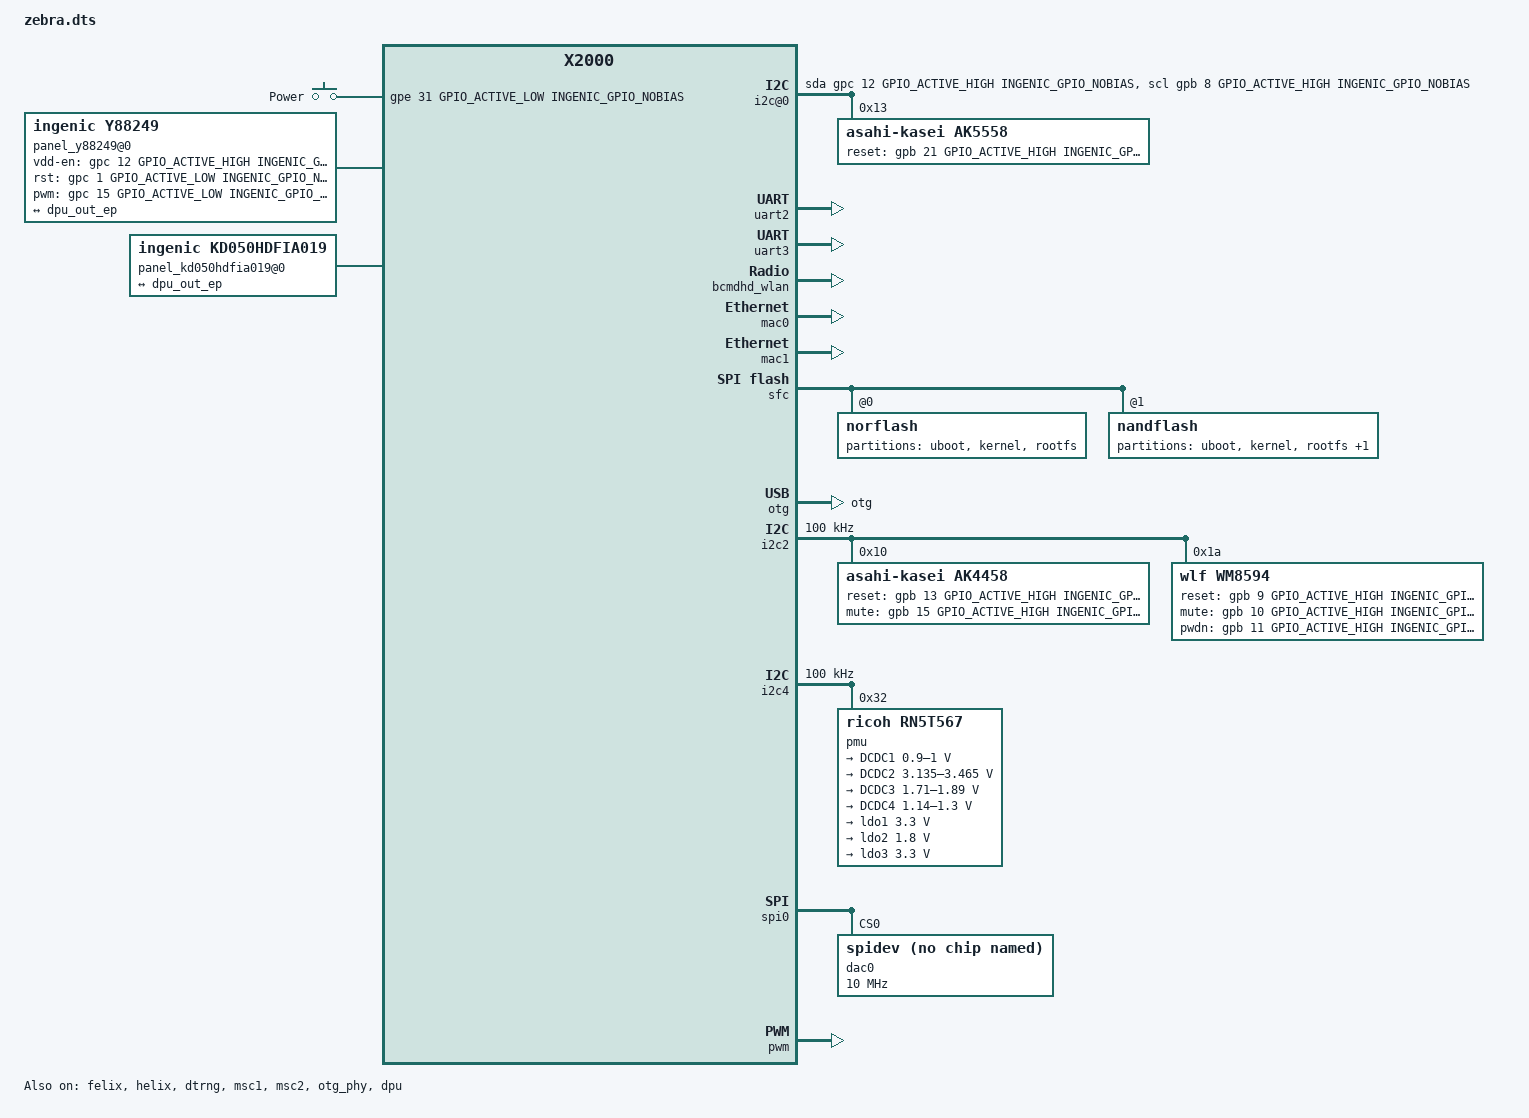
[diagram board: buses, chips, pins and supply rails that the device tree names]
/dts-v1/;

#include <dt-bindings/input/input.h>
#include "x2000-v12.dtsi"
#include <dt-bindings/interrupt-controller/irq.h>

/ {
	compatible = "ingenic,zebra", "ingenic,x2000";
};

&uart0 {
	status = "disable";
	pinctrl-names = "default";
	pinctrl-0 = <&uart0_pd>;
};

&uart2 {
	status = "okay";
	pinctrl-names = "default";
	pinctrl-0 = <&uart2_pd>;
};

&uart3 {
	status = "okay";
	pinctrl-names = "default";
	pinctrl-0 = <&uart3_pd>;
};

&pinctrl {
	ingenic,gpa_voltage = <GPIO_VOLTAGE_1V8>;
};

&cpufreq {
	 status = "okay";
	 cpu-core-supply = <&DCDC1>;
	 operating-points = <
		/*KHZ uV */
		1200000	900000
		750000	900000
		600000	900000
		500000	900000
		400000	900000
		375000	900000
		300000	900000
		200000	900000
		100000	900000
		80000	900000
		75000	900000
			>;
};

&felix {
	status = "okay";
};

&helix {
	status = "okay";
};

&pdma {
	status = "okay";
};

&dtrng {
	status = "okay";
};

&msc0 {
	status = "disable";
	pinctrl-names ="default";
	pinctrl-0 = <&msc0_8bit>;
	/*mmc-hs200-1_8v;*/
	cap-mmc-highspeed;
	non-removable;
	max-frequency = <50000000>;
	bus-width = <4>;
	non-removable;
	voltage-ranges = <1800 3300>;

	/* special property */
	ingenic,wp-gpios = <0>;
	ingneic,cd-gpios = <0>;
	ingenic,rst-gpios = <0>;
};

&msc1 {
	status = "okay";
	pinctrl-names ="default","enable", "disable";
	pinctrl-0 = <&msc1_4bit>;
	pinctrl-1 = <&rtc32k_enable>;
	pinctrl-2 = <&rtc32k_disable>;

	max-frequency = <50000000>;
	bus-width = <4>;
	voltage-ranges = <1800 3300>;
	non-removable;

	ingenic,sdio_clk = <1>;
	keep-power-in-suspend;

	/* special property */
	ingenic,wp-gpios = <0>;
	ingneic,cd-gpios = <0>;
	ingenic,rst-gpios = <0>;
	ingenic,removal-manual; /*removal-dontcare, removal-nonremovable, removal-removable, removal-manual*/

	bcmdhd_wlan: bcmdhd_wlan {
		 compatible = "android,bcmdhd_wlan";
		 ingenic,sdio-irq = <&gpd 20 IRQ_TYPE_LEVEL_HIGH INGENIC_GPIO_NOBIAS>;
		 ingenic,sdio-reset = <&gpd 19 GPIO_ACTIVE_LOW INGENIC_GPIO_NOBIAS>;
	};
};

&msc2 {
	status = "okay";
	pinctrl-names ="default";
	pinctrl-0 = <&msc2_4bit>;
	/*mmc-hs200-1_8v;*/
	/*cap-mmc-highspeeda;*/
	sd-uhs-sdr104;
	non-removable;
	max-frequency = <50000000>;
	bus-width = <4>;
	non-removable;
	voltage-ranges = <1800 3300>;

	/* special property */
	ingenic,sdr-gpios = <&gpb 5 GPIO_ACTIVE_HIGH INGENIC_GPIO_NOBIAS>;
	ingenic,wp-gpios = <0>;
	ingneic,cd-gpios = <0>;
	ingenic,rst-gpios = <0>;
};

/*
&mac0 {
	pinctrl-names = "default", "reset";
	pinctrl-0 = <&mac0_rmii_p0_normal>, <&mac0_rmii_p1_normal>;
	pinctrl-1 = <&mac0_rmii_p0_rst>, <&mac0_rmii_p1_normal>;
	status = "okay";
	ingenic,rst-gpio = <&gpb 0 GPIO_ACTIVE_LOW INGENIC_GPIO_NOBIAS>;
	ingenic,rst-ms = <10>;
	ingenic,mac-mode = <RMII>;
	ingenic,mode-reg = <0xb00000e4>;
};

&mac1 {
	pinctrl-names = "default", "reset";
	pinctrl-0 = <&mac1_rmii_p0_normal>, <&mac1_rmii_p1_normal>;
	pinctrl-1 = <&mac1_rmii_p0_rst>, <&mac1_rmii_p1_normal>;
	status = "okay";
	ingenic,rst-gpio = <&gpb 26 GPIO_ACTIVE_LOW INGENIC_GPIO_NOBIAS>;
	ingenic,rst-ms = <10>;
	ingenic,mac-mode = <RMII>;
	ingenic,mode-reg = <0xb00000e8>;
};
*/

&mac0 {
	pinctrl-names = "default", "reset";
	pinctrl-0 = <&mac0_rgmii_p0_normal>, <&mac0_rgmii_p1_normal>;
	pinctrl-1 = <&mac0_rgmii_p0_rst>, <&mac0_rgmii_p1_normal>;
	status = "okay";
	ingenic,rst-gpio = <&gpb 0 GPIO_ACTIVE_LOW INGENIC_GPIO_NOBIAS>;
	ingenic,rst-ms = <10>;
	ingenic,mac-mode = <RGMII>;
	ingenic,mode-reg = <0xb00000e4>;
	ingenic,rx-clk-delay = <0x0>;
	ingenic,tx-clk-delay = <0x0>;
	ingenic,phy-clk-freq = <25000000>;
};

&mac1 {
	pinctrl-names = "default", "reset";
	pinctrl-0 = <&mac1_rgmii_p0_normal>, <&mac1_rgmii_p1_normal>;
	pinctrl-1 = <&mac1_rgmii_p0_rst>, <&mac1_rgmii_p1_normal>;
	status = "okay";
	ingenic,rst-gpio = <&gpb 26 GPIO_ACTIVE_LOW INGENIC_GPIO_NOBIAS>;
	ingenic,rst-ms = <10>;
	ingenic,mac-mode = <RGMII>;
	ingenic,mode-reg = <0xb00000e8>;
	ingenic,rx-clk-delay = <0x0>;
	ingenic,tx-clk-delay = <0x0>;
	ingenic,phy-clk-freq = <25000000>;
};

&sfc {
	status = "okay";
	pinctrl-names = "default";
	pinctrl-0 = <&sfc_pe>;
	ingenic,sfc-max-frequency = <400000000>;
	ingenic,use_ofpart_info  = /bits/ 8 <0>;
	ingenic,spiflash_param_offset = <0>;

	norflash@0 {
		partitions {
			compatible = "fixed-partitions";
			#address-cells = <1>;
			#size-cells = <1>;

			/* spi nor flash partition */
			uboot@0 {
				label = "uboot";
				reg = <0x0000000 0x40000>;
				/*read-only;*/
			};

			kernel@40000 {
				label = "kernel";
				reg = <0x40000 0x300000>;
			};

			rootfs@360000 {
				label = "rootfs";
				reg = <0x360000 0xca0000>;
			};
		};
	};

	nandflash@1 {
		partitions {
			compatible = "fixed-partitions";
			#address-cells = <1>;
			#size-cells = <1>;

			/* spi nand flash partition */
			partition@0 {
				label = "uboot";
				reg = <0x0000000 0x100000>;
				/*read-only;*/
			};

			partition@100000 {
				label = "kernel";
				reg = <0x100000 0x800000>;
			};

			partition@900000 {
				label = "rootfs";
				reg = <0x900000 0x2800000>;
			};

			partition@3100000 {
				label = "userdata";
				reg = <0x3100000 0xcf00000>;
			};
		};
	};

};

&otg {
	g-use-dma;
	dr_mode = "otg"; // host,peripheral,otg
	status = "okay";
};

&otg_phy {
	compatible = "ingenic,innophy", "syscon";
	ingenic,drvvbus-gpio = <&gpe 22 GPIO_ACTIVE_HIGH INGENIC_GPIO_NOBIAS>;
	status = "okay";
};


&as_be_baic {
	pinctrl-names = "default";
	pinctrl-0 = <&baic1_tmclk_pc>, <&baic1_rmclk_pc>, <&baic1_pc>, <&baic2_mclk_pa>, <&baic2_pa>,
		<&baic3_mclk_pa>, <&baic3_pa>, <&baic4_pd>;
};

&as_spdif {
	pinctrl-names = "default";
	pinctrl-0 = <&spdif_pc>;
};

&as_dmic {
	pinctrl-names = "default";
	pinctrl-0 = <&dmic_pc>;
};

&i2c2 {
	status = "okay";
	clock-frequency = <100000>;
	timeout = <1000>;
	pinctrl-names = "default";
	pinctrl-0 = <&i2c2_pb>;

	ak4458: dac@0x10 {
		compatible = "asahi-kasei,ak4458";
		status = "okay";
		reg = <0x10>;
		reset-gpios = <&gpb 13 GPIO_ACTIVE_HIGH INGENIC_GPIO_NOBIAS>;
		mute-gpios = <&gpb 15 GPIO_ACTIVE_HIGH INGENIC_GPIO_NOBIAS>;
	};
	wm8594: adc@0x1a {
		compatible = "wlf,wm8594";
		status = "okay";
		reg = <0x1a>;
		reset-gpios = <&gpb 9 GPIO_ACTIVE_HIGH INGENIC_GPIO_NOBIAS>;
		mute-gpios = <&gpb 10 GPIO_ACTIVE_HIGH INGENIC_GPIO_NOBIAS>;
		pwdn-gpios = <&gpb 11 GPIO_ACTIVE_HIGH INGENIC_GPIO_NOBIAS>;
	};
};

&i2c4 {
	status = "okay";
	clock-frequency = <100000>;
	timeout = <1000>;
	pinctrl-names = "default";
	pinctrl-0 = <&i2c4_pc>;

	pmu: rn5t567@0x32{
		status = "okay";
		compatible = "ricoh,rn5t567";
		reg = <0x32>;

		regulators {
			DCDC1: dcdc1 {
				regulator-compatible = "DCDC1";
				regulator-name = "DC1_0v9";
				regulator-min-microvolt = <900000>;
				regulator-max-microvolt = <1000000>;
				regulator-boot-on;
				regulator-always-on;
				sleep-slot = <13>;
			};
			DCDC2: dcdc2 {
				regulator-compatible = "DCDC2";
				regulator-name = "DC2_3v3";
				regulator-min-microvolt = <3135000>;
				regulator-max-microvolt = <3465000>;
				regulator-boot-on;
				regulator-always-on;
				sleep-slot = <13>;
			};
			DCDC3: dcdc3 {
				regulator-compatible = "DCDC3";
				regulator-name = "DC3_1v8";
				regulator-min-microvolt = <1710000>;
				regulator-max-microvolt = <1890000>;
				regulator-boot-on;
				regulator-always-on;
				sleep-slot = <15>;
			};
			DCDC4: dcdc4 {
				regulator-compatible = "DCDC4";
				regulator-name = "DC4_1v2";
				regulator-min-microvolt = <1140000>;
				regulator-max-microvolt = <1300000>;
				regulator-boot-on;
				regulator-always-on;
				sleep-slot = <15>;
			};
			ldo1: ldo1 {
				regulator-compatible = "LDO1";
				regulator-name = "DAC_3v3";
				regulator-min-microvolt = <3300000>;
				regulator-max-microvolt = <3300000>;
			};
			ldo2: ldo2 {
				regulator-compatible = "LDO2";
				regulator-name = "EFUSE_1v8";
				regulator-min-microvolt = <1800000>;
				regulator-max-microvolt = <1800000>;
			};
			ldo3: ldo3 {
				regulator-compatible = "LDO3";
				regulator-name = "LCD_3v3";
				regulator-min-microvolt = <3300000>;
				regulator-max-microvolt = <3300000>;
			};


	};
      };
};


&dpu {
	status = "okay";
	port {
		dpu_out_ep: endpoint {
			remote-endpoint = <&panel_y88249_ep>;
			/*remote-endpoint = <&panel_kd050hdfia019_ep>;*/
		};
	};
};

&spi0 {
	/*status = "disabled";*/
	status = "okay";
	pinctrl-names = "default";
	pinctrl-0 = <&spi0_pb>;

	spi-max-frequency = <54000000>;
	num-cs = <2>;
	cs-gpios = <0>, <0>;
	/*cs-gpios = <&gpa 27 GPIO_ACTIVE_HIGH INGENIC_GPIO_NOBIAS>, <&gpa 27 GPIO_ACTIVE_HIGH INGENIC_GPIO_NOBIAS>;*/
	ingenic,chnl = <0>;
	ingenic,allow_cs_same = <1>;
	ingenic,bus_num = <0>;
	ingenic,has_dma_support = <0>;
	ingenic,spi-src-clk = <1>;/*0.ext; 1.ssi*/

	dac0: dac8881@0 {
		compatible = "rohm,dh2228fv";
		reg = <0>;
		spi-max-frequency = <10000000>;
	};
};

&pwm {
	status = "okay";
	pinctrl-names = "default","pwm15_pc";
	pinctrl-0 = <&pwm0_pc> ,<&pwm15_pc>;
};

/ {

	extclk: extclk {
		clock-frequency = <24000000>;
	};

	gpio_keys: gpio_keys {
		   compatible = "gpio-keys";

		   power {
			   label = "Power";
			   linux,code = <KEY_POWER>;
			   gpios = <&gpe 31 GPIO_ACTIVE_LOW INGENIC_GPIO_NOBIAS>;
			   gpio-key,wakeup;
		   };
	   };
	sound {
		compatible = "ingenic,x2000-sound";
		ingenic,model = "zebra";
	};

	i2c@0 {
		compatible = "i2c-gpio";
		gpios = <&gpc 12 GPIO_ACTIVE_HIGH INGENIC_GPIO_NOBIAS /* sda */>,
			<&gpb 8 GPIO_ACTIVE_HIGH INGENIC_GPIO_NOBIAS /* scl */>;
		//i2c-gpio,sda-open-drain;
		//i2c-gpio,scl-open-drain;
		i2c-gpio,scl-output-only;
		i2c-gpio,delay-us = <2>; /* ~100 kHz */
		#address-cells = <1>;
		#size-cells = <0>;

		ak5558: adc@0x13 {
			compatible = "asahi-kasei,ak5558";
			status = "okay";
			reg = <0x13>;
			reset-gpios = <&gpb 21 GPIO_ACTIVE_HIGH INGENIC_GPIO_NOBIAS>;
		};
	};

	display-dbi {
		compatible = "simple-bus";
		#interrupt-cells = <1>;
		#address-cells = <1>;
		#size-cells = <1>;
		ranges = <>;
		panel_y88249@0 {
			compatible = "ingenic,y88249";
			status = "okay";
			pinctrl-names = "default";
			pinctrl-0 = <&tft_lcd_pb_rgb888>;
			ingenic,vdd-en-gpio = <&gpc 12 GPIO_ACTIVE_HIGH INGENIC_GPIO_NOBIAS>;
			ingenic,rst-gpio = <&gpc 1 GPIO_ACTIVE_LOW INGENIC_GPIO_NOBIAS>;
			ingenic,pwm-gpio = <&gpc 15 GPIO_ACTIVE_LOW INGENIC_GPIO_NOBIAS>;
			port {
				panel_y88249_ep: endpoint {
					remote-endpoint = <&dpu_out_ep>;
				};
			};
		};
		panel_kd050hdfia019@0 {
			compatible = "ingenic,kd050hdfia019";
			status = "okay";
			pinctrl-names = "default";
			port {
				panel_kd050hdfia019_ep: endpoint {
					remote-endpoint = <&dpu_out_ep>;
				};
			};
		};
	};
};
